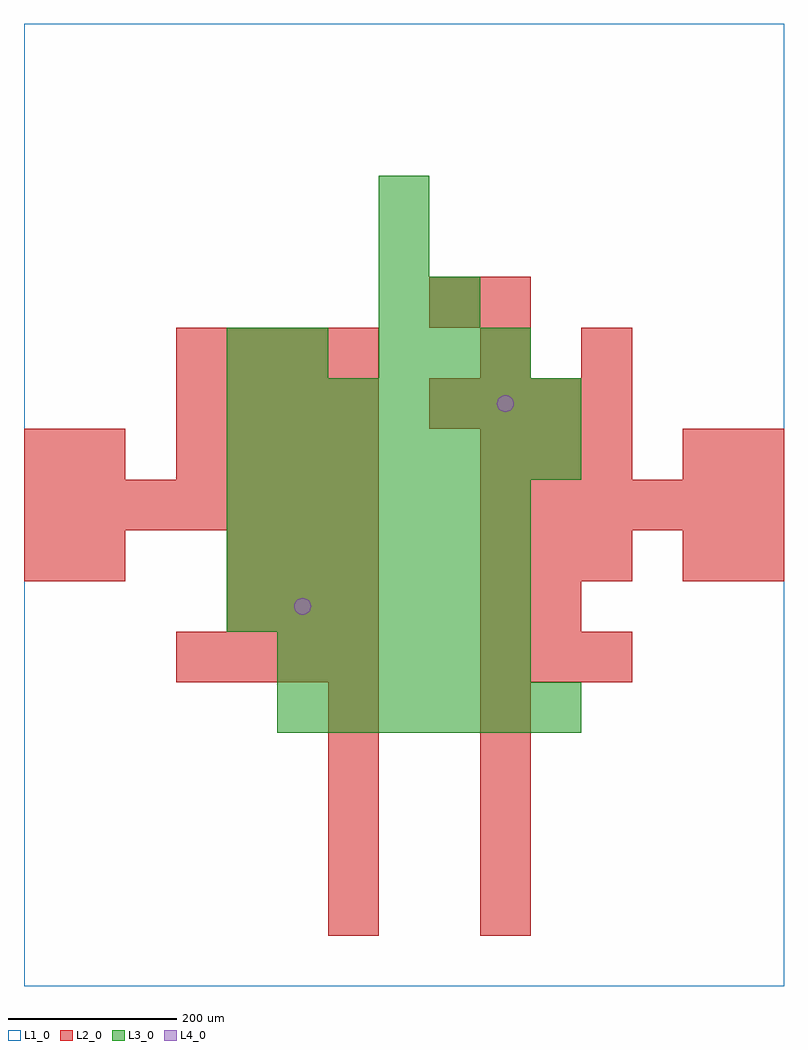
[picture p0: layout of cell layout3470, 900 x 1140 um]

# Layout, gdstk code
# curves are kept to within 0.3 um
import gdstk
lib = gdstk.Library(unit=1e-6, precision=1e-09)
def R(c, l, rs):  # rectangles x0, y0, x1, y1
    for r in rs: c.add(gdstk.rectangle(r[:2], r[2:], *l))
def A(c, l, x, y, w, h, nx, ny, dx, dy):  # array of equal rectangles
    R(c, l, [(x+i*dx, y+j*dy, x+i*dx+w, y+j*dy+h) for i in range(nx) for j in range(ny)])
def P(c, l, *ps):  # polygons
    for p in ps: c.add(gdstk.Polygon(p, *l))
L1_0 = (1, 0)
L2_0 = (2, 0)
L3_0 = (3, 0)
L4_0 = (4, 0)

layout3470 = lib.new_cell('layout3470')
R(layout3470, L1_0, [(0,0,900,1140)])
A(layout3470, L2_0, 360, 60, 60, 60, 1, 5, 0, 60)
A(layout3470, L2_0, 540, 60, 60, 60, 1, 5, 0, 60)
A(layout3470, L2_0, 180, 360, 60, 60, 4, 2, 60, 240)
A(layout3470, L2_0, 540, 360, 60, 60, 3, 3, 60, 120)
A(layout3470, L2_0, 240, 420, 60, 60, 3, 2, 60, 60)
A(layout3470, L2_0, 0, 540, 60, 60, 7, 1, 60, 0)
A(layout3470, L2_0, 540, 540, 60, 60, 6, 1, 60, 0)
A(layout3470, L2_0, 180, 660, 60, 60, 4, 2, 60, 60)
A(layout3470, L2_0, 480, 660, 60, 60, 4, 1, 60, 0)
R(layout3470, L2_0, [(540,420,600,480), (600,420,660,480), (0,480,60,540), (60,480,120,540), (780,480,840,540), (840,480,900,540), (0,600,60,660), (60,600,120,660), (780,600,840,660), (840,600,900,660), (540,720,600,780), (660,720,720,780), (480,780,540,840), (540,780,600,840)])
A(layout3470, L3_0, 300, 300, 60, 60, 6, 1, 60, 0)
A(layout3470, L3_0, 300, 360, 60, 60, 5, 1, 60, 0)
A(layout3470, L3_0, 240, 420, 60, 60, 6, 3, 60, 60)
A(layout3470, L3_0, 240, 600, 60, 60, 7, 2, 60, 60)
A(layout3470, L3_0, 420, 720, 60, 60, 3, 1, 60, 0)
A(layout3470, L3_0, 420, 780, 60, 60, 1, 3, 0, 60)
R(layout3470, L3_0, [(240,720,300,780), (300,720,360,780), (480,780,540,840)])
P(layout3470, L4_0, [(340,450),(339.239,453.827),(337.071,457.071),(333.827,459.239),(330,460),(326.173,459.239),(322.929,457.071),(320.761,453.827),(320,450),(320.761,446.173),(322.929,442.929),(326.173,440.761),(330,440),(333.827,440.761),(337.071,442.929),(339.239,446.173)],
  [(580,690),(579.239,693.827),(577.071,697.071),(573.827,699.239),(570,700),(566.173,699.239),(562.929,697.071),(560.761,693.827),(560,690),(560.761,686.173),(562.929,682.929),(566.173,680.761),(570,680),(573.827,680.761),(577.071,682.929),(579.239,686.173)])

lib.write_gds('layout3470.gds')
